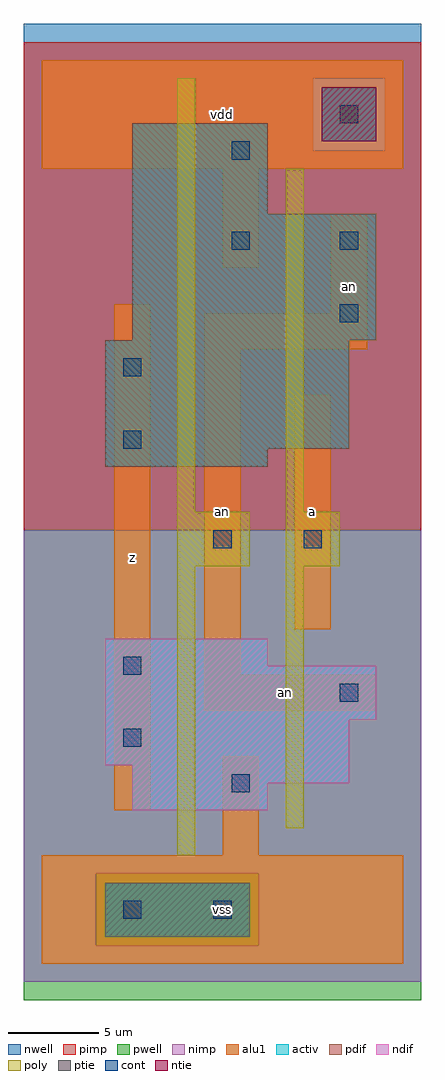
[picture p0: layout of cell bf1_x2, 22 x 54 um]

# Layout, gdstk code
import gdstk
lib = gdstk.Library(unit=1e-6, precision=1e-09)
def R(c, l, rs):  # rectangles x0, y0, x1, y1
    for r in rs: c.add(gdstk.rectangle(r[:2], r[2:], *l))
ndif = (3, 0)
pdif = (4, 0)
ntie = (5, 0)
ptie = (6, 0)
cont = (25, 0)
pwell = (41, 0)
nwell = (42, 0)
activ = (43, 0)
pimp = (44, 0)
nimp = (45, 0)
poly = (46, 0)
alu1 = (49, 0)

bf1_x2 = lib.new_cell('bf1_x2')
R(bf1_x2, ndif, [(5,8.5,12.5,10), (5,10,17,11), (3.5,11,17,13.5), (3.5,13.5,18.5,16.5), (3.5,16.5,12.5,18)])
R(bf1_x2, pdif, [(3.5,27.5,12.5,28.5), (3.5,28.5,17,34.5), (5,34.5,18.5,41.5), (5,41.5,12.5,46.5)])
R(bf1_x2, ntie, [(15.5,45.5,18.5,48.5)])
R(bf1_x2, ptie, [(3.5,1.5,11.5,4.5)])
R(bf1_x2, cont, [(4.5,2.5,5.5,3.5), (9.5,2.5,10.5,3.5), (10.5,9.5,11.5,10.5), (4.5,12,5.5,13), (16.5,14.5,17.5,15.5), (4.5,16,5.5,17), (9.5,23,10.5,24), (14.5,23,15.5,24), (4.5,28.5,5.5,29.5), (4.5,32.5,5.5,33.5), (16.5,35.5,17.5,36.5), (10.5,39.5,11.5,40.5), (16.5,39.5,17.5,40.5), (10.5,44.5,11.5,45.5), (16.5,46.5,17.5,47.5)])
R(bf1_x2, pwell, [(-1,-2,21,24)])
R(bf1_x2, nwell, [(-1,24,21,52)])
R(bf1_x2, activ, [(3.5,1.5,11.5,4.5), (5,8.5,12.5,10), (5,10,17,11), (3.5,11,17,13.5), (3.5,13.5,18.5,16.5), (3.5,16.5,12.5,18), (3.5,27.5,12.5,28.5), (3.5,28.5,17,34.5), (5,34.5,18.5,41.5), (5,41.5,12.5,46.5), (15.5,45.5,18.5,48.5)])
R(bf1_x2, pimp, [(3,1,12,5), (-1,24,21,45), (-1,45,15,49), (19,45,21,49), (-1,49,21,51)])
R(bf1_x2, nimp, [(-1,-1,21,1), (-1,1,3,5), (12,1,21,5), (-1,5,21,24), (15,45,19,49)])
R(bf1_x2, poly, [(7.5,6,8.5,22), (13.5,7.5,14.5,22), (7.5,22,11.5,25), (13.5,22,16.5,25), (7.5,25,8.5,49), (13.5,25,14.5,44)])
R(bf1_x2, alu1, [(0,0,20,6), (10,6,12,11.5), (4,8.5,6,36.5), (9,14,18.5,16), (9,16,11,34), (14,18.5,16,31.5), (9,34,18,36), (16,36,18,41.5), (10,38.5,12,44), (0,44,20,50)])
bf1_x2.add(gdstk.Label('z', (5,22.5), layer=49, texttype=0))
bf1_x2.add(gdstk.Label('vss', (10,3), layer=49, texttype=0))
bf1_x2.add(gdstk.Label('an', (10,25), layer=49, texttype=0))
bf1_x2.add(gdstk.Label('vdd', (10,47), layer=49, texttype=0))
bf1_x2.add(gdstk.Label('an', (13.5,15), layer=49, texttype=0))
bf1_x2.add(gdstk.Label('a', (15,25), layer=49, texttype=0))
bf1_x2.add(gdstk.Label('an', (17,37.5), layer=49, texttype=0))

lib.write_gds('bf1_x2.gds')
